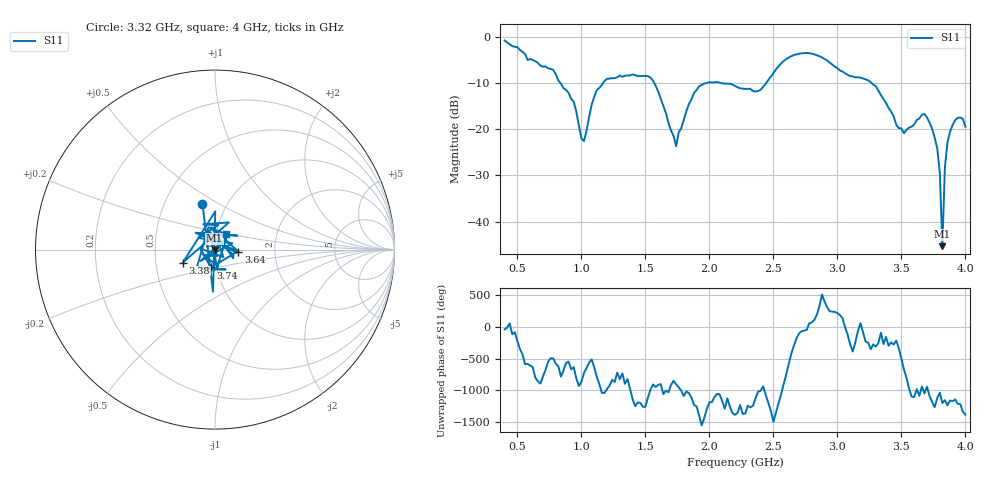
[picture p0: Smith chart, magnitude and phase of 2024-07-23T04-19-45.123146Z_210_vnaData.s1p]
!Created with skrf (http://scikit-rf.org).
# Hz S RI R 50.0
!freq ReS11 ImS11
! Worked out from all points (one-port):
!   181 points, 400 MHz to 4 GHz, reference 50 ohm
!   lowest |S11| = -45.3 dB at 3.82 GHz (marker M1), VSWR 1.01, Z = 49.7 - j0.476 ohm
!   |S11| at or under -10 dB: 1.569 GHz to 1.981 GHz (411.5 MHz wide, 23.2 % of centre); 2.094 GHz to 2.443 GHz (349 MHz wide, 15.4 % of centre); 3.268 GHz to end of sweep (the widest 3 of 4)
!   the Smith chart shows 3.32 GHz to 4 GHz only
!   S11 on the Smith chart (normalised r, x): 3.32 GHz: 0.77, +0.42; 3.38 GHz: 0.69, -0.10; 3.64 GHz: 1.30, -0.03; 3.74 GHz: 0.94, -0.19; 4 GHz: 1.11, +0.20
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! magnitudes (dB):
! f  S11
! 400 MHz  -0.8
! 780 MHz  -7.2
! 860 MHz  -11.1
! 940 MHz  -14.0
! 1.02 GHz  -22.6
! 1.12 GHz  -11.5
! 1.3 GHz  -8.4
! 1.54 GHz  -8.8
! 1.74 GHz  -23.7
! 1.76 GHz  -20.7
! 1.92 GHz  -10.7
! 2.2 GHz  -10.6
! 2.4 GHz  -11.5
! 2.66 GHz  -3.9
! 3.1 GHz  -8.5
! 3.32 GHz  -11.6
! 3.38 GHz  -14.3
! 3.48 GHz  -19.8
! 3.56 GHz  -19.6
! 3.64 GHz  -17.7
! 3.74 GHz  -19.8
! 3.78 GHz  -24.1
! 3.8 GHz  -29.3
! 3.82 GHz  -45.3
! 3.84 GHz  -28.2
! 3.86 GHz  -22.9
! 3.94 GHz  -17.5
! 4 GHz  -19.4
